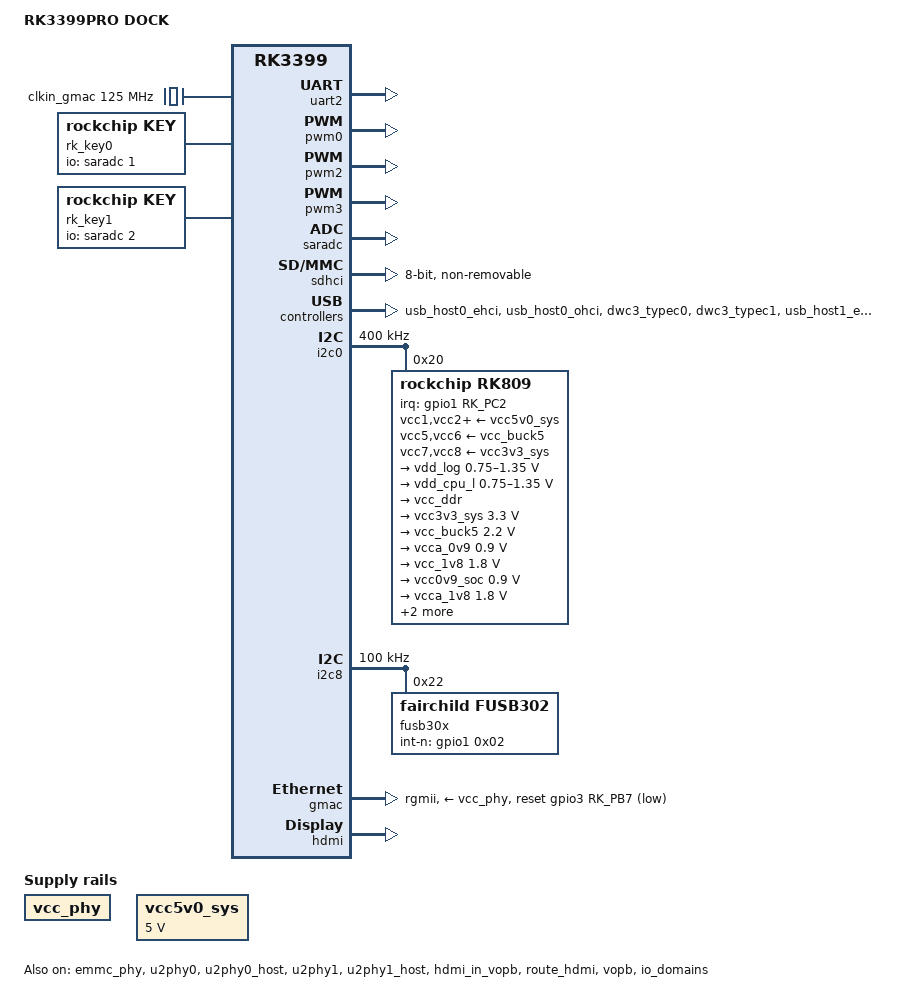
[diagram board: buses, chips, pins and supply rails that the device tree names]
/*
 * (C) Copyright 2016 Rockchip Electronics Co., Ltd
 *
 * SPDX-License-Identifier: GPL-2.0+
 */

/dts-v1/;
#include <dt-bindings/pwm/pwm.h>
#include <dt-bindings/pinctrl/rockchip.h>
#include "rk3399.dtsi"
#include "rk3399-sdram-lpddr3-4GB-1600.dtsi"
#include "rk3399-u-boot.dtsi"
#include <linux/media-bus-format.h>
#include <dt-bindings/input/input.h>

/ {
	model = "RK3399PRO DOCK";
	compatible = "rockchip, rk3399pro-dock",
	             "rockchip,rk3399-evb",
	             "rockchip,rk3399",
	             "google,rk3399evb-rev2";

	vcc_phy: vcc-phy-regulator {
		compatible = "regulator-fixed";
		regulator-name = "vcc_phy";
		regulator-always-on;
		regulator-boot-on;
	};

	vcc5v0_sys: vccsys {
		compatible = "regulator-fixed";
		regulator-name = "vcc5v0_sys";
		regulator-always-on;
		regulator-boot-on;
		regulator-min-microvolt = <5000000>;
		regulator-max-microvolt = <5000000>;
	};

	clkin_gmac: external-gmac-clock {
		compatible = "fixed-clock";
		clock-frequency = <125000000>;
		clock-output-names = "clkin_gmac";
		#clock-cells = <0>;
		u-boot,dm-pre-reloc;
	};

	rk_key0 {
		compatible = "rockchip,key";
		io-channels = <&saradc 1>;
		status = "okay";
		u-boot,dm-pre-reloc;

		vol-up-key0 {
			label = "volume up";
			linux,code = <115>;
			rockchip,adc_value = <1>;
			u-boot,dm-pre-reloc;
		};
	};

	rk_key1 {
		compatible = "rockchip,key";
		io-channels = <&saradc 2>;
		status = "okay";
		u-boot,dm-pre-reloc;

		vol-up-key1 {
			label = "volume up";
			linux,code = <115>;
			rockchip,adc_value = <10>;
			u-boot,dm-pre-reloc;
		};
	};
};


&uart2 {
	pinctrl-0 = <&uart2a_xfer>;
	status = "okay";
};


&emmc_phy {
	status = "okay";
};

&pwm0 {
	status = "okay";
};

&pwm2 {
	status = "okay";
};

&pwm3 {
	status = "okay";
};

&saradc {
	status = "okay";
};

&sdmmc {
	bus-width = <4>;
	status = "disabled";
};

&sdhci {
	bus-width = <8>;
	mmc-hs400-1_8v;
	mmc-hs400-enhanced-strobe;
	non-removable;
	status = "okay";
};

&usb_host0_ehci {
	status = "okay";
};

&usb_host0_ohci {
	status = "okay";
};

&u2phy0 {
	status = "okay";
};

&u2phy0_host {
	phy-supply = <&vcc5v0_usb>;
	status = "okay";
};

&dwc3_typec0 {
	extcon = <&fusb30x>;
	status = "okay";
};

&dwc3_typec1 {
	status = "okay";
};

&usb_host1_ehci {
	status = "okay";
};

&usb_host1_ohci {
	status = "okay";
};

&u2phy1 {
	status = "okay";
};

&u2phy1_host {
	phy-supply = <&vcc5v0_usb>;
	status = "okay";
};

&i2c0 {
	status = "okay";
	clock-frequency = <400000>;
	i2c-scl-falling-time-ns = <180>;
	i2c-scl-rising-time-ns = <30>;

	rk809: pmic@20 {
		compatible = "rockchip,rk809";
		reg = <0x20>;
		interrupt-parent = <&gpio1>;
		interrupts = <RK_PC2 IRQ_TYPE_LEVEL_LOW>;
		pinctrl-names = "default",
		                "pmic-sleep",
		                "pmic-power-off",
		                "pmic-reset";
		pinctrl-0 = <&pmic_int_l>;
		pinctrl-1 = <&soc_slppin_slp>, <&rk809_slppin_slp>;
		pinctrl-2 = <&soc_slppin_gpio>, <&rk809_slppin_pwrdn>;
		pinctrl-3 = <&soc_slppin_gpio>, <&rk809_slppin_null>;
		rockchip,system-power-controller;
		pmic-reset-func = <0>;
		wakeup-source;
		#clock-cells = <1>;
		clock-output-names = "rk808-clkout1", "rk808-clkout2";

		vcc1-supply = <&vcc5v0_sys>;
		vcc2-supply = <&vcc5v0_sys>;
		vcc3-supply = <&vcc5v0_sys>;
		vcc4-supply = <&vcc5v0_sys>;
		vcc5-supply = <&vcc_buck5>;
		vcc6-supply = <&vcc_buck5>;
		vcc7-supply = <&vcc3v3_sys>;
		vcc8-supply = <&vcc3v3_sys>;
		vcc9-supply = <&vcc5v0_sys>;
		pwrkey {
			status = "okay";
		};
		pinctrl_rk8xx: pinctrl_rk8xx {
			gpio-controller;
			#gpio-cells = <2>;

			rk809_slppin_null: rk809_slppin_null {
				pins = "gpio_slp";
				function = "pin_fun0";
			};

			rk809_slppin_slp: rk809_slppin_slp {
				pins = "gpio_slp";
				function = "pin_fun1";
			};

			rk809_slppin_pwrdn: rk809_slppin_pwrdn {
				pins = "gpio_slp";
				function = "pin_fun2";
			};

			rk809_slppin_rst: rk809_slppin_rst {
				pins = "gpio_slp";
				function = "pin_fun3";
			};
		};
		regulators {
			vdd_log: DCDC_REG1 {
				regulator-always-on;
				regulator-boot-on;
				regulator-min-microvolt = <750000>;
				regulator-max-microvolt = <1350000>;
				regulator-initial-mode = <0x2>;
				regulator-name = "vdd_log";
				regulator-state-mem {
					regulator-off-in-suspend;
					regulator-suspend-microvolt = <900000>;
				};
			};

			vdd_cpu_l: DCDC_REG2 {
				regulator-always-on;
				regulator-boot-on;
				regulator-min-microvolt = <750000>;
				regulator-max-microvolt = <1350000>;
				regulator-ramp-delay = <6001>;
				regulator-initial-mode = <0x2>;
				regulator-name = "vdd_cpu_l";
				regulator-state-mem {
					regulator-off-in-suspend;
				};
			};

			vcc_ddr: DCDC_REG3 {
				regulator-always-on;
				regulator-boot-on;
				regulator-name = "vcc_ddr";
				regulator-initial-mode = <0x2>;
				regulator-state-mem {
					regulator-on-in-suspend;
				};
			};

			vcc3v3_sys: DCDC_REG4 {
				regulator-always-on;
				regulator-boot-on;
				regulator-min-microvolt = <3300000>;
				regulator-max-microvolt = <3300000>;
				regulator-initial-mode = <0x2>;
				regulator-name = "vcc3v3_sys";
				regulator-state-mem {
					regulator-on-in-suspend;
					regulator-suspend-microvolt = <3300000>;
				};
			};

			vcc_buck5: DCDC_REG5 {
				regulator-always-on;
				regulator-boot-on;
				regulator-min-microvolt = <2200000>;
				regulator-max-microvolt = <2200000>;
				regulator-name = "vcc_buck5";
				regulator-state-mem {
					regulator-on-in-suspend;
					regulator-suspend-microvolt = <2200000>;
				};
			};

			vcca_0v9: LDO_REG1 {
				regulator-always-on;
				regulator-boot-on;
				regulator-min-microvolt = <900000>;
				regulator-max-microvolt = <900000>;
				regulator-name = "vcca_0v9";
				regulator-state-mem {
					regulator-off-in-suspend;
				};
			};

			vcc_1v8: LDO_REG2 {
				regulator-always-on;
				regulator-boot-on;
				regulator-min-microvolt = <1800000>;
				regulator-max-microvolt = <1800000>;

				regulator-name = "vcc_1v8";
				regulator-state-mem {
					regulator-on-in-suspend;
					regulator-suspend-microvolt = <1800000>;
				};
			};

			vcc0v9_soc: LDO_REG3 {
				regulator-always-on;
				regulator-boot-on;
				regulator-min-microvolt = <900000>;
				regulator-max-microvolt = <900000>;

				regulator-name = "vcc0v9_soc";
				regulator-state-mem {
					regulator-on-in-suspend;
					regulator-suspend-microvolt = <900000>;
				};
			};

			vcca_1v8: LDO_REG4 {
				regulator-always-on;
				regulator-boot-on;
				regulator-min-microvolt = <1800000>;
				regulator-max-microvolt = <1800000>;

				regulator-name = "vcca_1v8";
				regulator-state-mem {
					regulator-off-in-suspend;
				};
			};

			vdd1v5_dvp: LDO_REG5 {
				regulator-always-on;
				regulator-boot-on;
				regulator-min-microvolt = <1500000>;
				regulator-max-microvolt = <1500000>;

				regulator-name = "vdd1v5_dvp";
				regulator-state-mem {
					regulator-off-in-suspend;
				};
			};

			vcc_1v5: LDO_REG6 {
				regulator-always-on;
				regulator-boot-on;
				regulator-min-microvolt = <1500000>;
				regulator-max-microvolt = <1500000>;

				regulator-name = "vcc_1v5";
				regulator-state-mem {
					regulator-off-in-suspend;
				};
			};

			vcc_3v0: LDO_REG7 {
				regulator-always-on;
				regulator-boot-on;
				regulator-min-microvolt = <3000000>;
				regulator-max-microvolt = <3000000>;

				regulator-name = "vcc_3v0";
				regulator-state-mem {
					regulator-off-in-suspend;
				};
			};

			vccio_sd: LDO_REG8 {
				regulator-always-on;
				regulator-boot-on;
				regulator-min-microvolt = <1800000>;
				regulator-max-microvolt = <3300000>;

				regulator-name = "vccio_sd";
				regulator-state-mem {
					regulator-off-in-suspend;
				};
			};

			vcc_sd: LDO_REG9 {
				regulator-always-on;
				regulator-boot-on;
				regulator-min-microvolt = <3300000>;
				regulator-max-microvolt = <3300000>;

				regulator-name = "vcc_sd";
				regulator-state-mem {
					regulator-off-in-suspend;
				};
			};

			vcc5v0_usb: SWITCH_REG1 {
				regulator-min-microvolt = <5000000>;
				regulator-max-microvolt = <5000000>;

				regulator-name = "vcc5v0_usb";
				regulator-state-mem {
					regulator-on-in-suspend;
					regulator-suspend-microvolt = <5000000>;
				};
			};

			vccio_3v3: SWITCH_REG2 {
				regulator-always-on;
				regulator-boot-on;
				regulator-min-microvolt = <3300000>;
				regulator-max-microvolt = <3300000>;

				regulator-name = "vccio_3v3";
				regulator-state-mem {
					regulator-off-in-suspend;
				};
			};
		};
	};

};

&i2c8 {
	status = "okay";
	i2c-scl-falling-time-ns = <11>;
	i2c-scl-rising-time-ns = <345>;
	clock-frequency = <100000>;
	status = "okay";

	fusb30x: fusb30x@22 {
		compatible = "fairchild,fusb302";
		int-n-gpios = <&gpio1 0x02 0x00>;
		//phandle = <0x28>;
		pinctrl-0 = <&fusb0_int>;
		pinctrl-names = "default";
		reg = <0x22>;
		status = "okay";
		//fusb302,role = "ROLE_MODE_DRP";
		//fusb302,try_role = "ROLE_MODE_DFP";
	};
};

&pinctrl {
	pinctrl-names = "default";
	pinctrl-0 = <&npu_ref_clk>;

	npu_clk {
		npu_ref_clk: npu-ref-clk {
		     rockchip,pins =
			     <0 RK_PA2 1 &pcfg_pull_none>;
	     };
	};

	pmic {
		pmic_int_l: pmic-int-l {
			rockchip,pins =
				<1 RK_PC2 0 &pcfg_pull_up>;
		};
		vsel1_gpio: vsel1-gpio {
			rockchip,pins =
				<1 RK_PC1 0 &pcfg_pull_down>;
		};
		vsel2_gpio: vsel2-gpio {
			rockchip,pins =
				<1 RK_PB6 0 &pcfg_pull_down>;
		};

		soc_slppin_gpio: soc-slppin-gpio {
			rockchip,pins =
				<1 RK_PA5 0 &pcfg_output_low>;
		};

		soc_slppin_slp: soc-slppin-slp {
			rockchip,pins =
				<1 RK_PA5 1 &pcfg_pull_down>;
		};

		soc_slppin_rst: soc-slppin-rst {
			rockchip,pins =
				<1 RK_PA5 2 &pcfg_pull_none>;
		};
	};

	bq2570 {
		charger_ok_int: charger-ok-int {
			rockchip,pins =
				<1 RK_PA1 0 &pcfg_pull_up>;
			};
	};

	fusb30x {
		fusb0_int: fusb0-int {
			rockchip,pins =
				<1 RK_PA2 0 &pcfg_pull_up>;
			};
	};
	
	headphone {
		hp_det: hp-det {
			rockchip,pins =
				<0 RK_PB5 0 &pcfg_pull_up>;
		};
	};

	wireless-bluetooth {
		bt_irq_gpio: bt-irq-gpio {
			//phandle = <0xe7>;
			rockchip,pins = <0 RK_PA5 RK_FUNC_GPIO &pcfg_pull_down>;
		};
		uart0_gpios: uart0-gpios {
			rockchip,pins =
				<2 RK_PC3 RK_FUNC_GPIO &pcfg_pull_none>;
		};
	};

	sdio-pwrseq {
		wifi_enable_h: wifi-enable-h {
			rockchip,pins =
				<2 RK_PD3 0 &pcfg_pull_none>;
		};
	};

	sdmmc {
		sdmmc_bus1: sdmmc-bus1 {
			rockchip,pins =
				<4 8 RK_FUNC_1 &pcfg_pull_up>;
		};

		sdmmc_bus4: sdmmc-bus4 {
			rockchip,pins =
				<4 8 RK_FUNC_1 &pcfg_pull_up>,
				<4 9 RK_FUNC_1 &pcfg_pull_up>,
				<4 10 RK_FUNC_1 &pcfg_pull_up>,
				<4 11 RK_FUNC_1 &pcfg_pull_up>;
		};

		sdmmc_clk: sdmmc-clk {
			rockchip,pins =
				<4 12 RK_FUNC_1 &pcfg_pull_none>;
		};

		sdmmc_cmd: sdmmc-cmd {
			rockchip,pins =
				<4 13 RK_FUNC_1 &pcfg_pull_up>;
		};
	};

	tp_irq {
		tp_irq_gpio: tp-irq-gpio {
			rockchip,pins =
				<3 RK_PB0 0 &pcfg_pull_up>;
		};
	};
	
	lcd {
		lcd_rst_gpio: lcd-rst-gpio {
			rockchip,pins =
				<3 4 RK_FUNC_GPIO &pcfg_pull_none>;// eDP
		};
	};

	backlight {
		bl_en: bl-en {
			rockchip,pins =
				<1 13 RK_FUNC_GPIO &pcfg_pull_none>;// eDP
		};
	};

	isp {
		isp_dvp_d0d7: isp-dvp-d0d7 {
			phandle = <0xd1>;
			rockchip,pins = <0x02 0x00 0x03 0xc7 0x02 0x01 0x03 0xc7 0x02 0x02 0x03 0xc7 0x02 0x03 0x03 0xc7 0x02 0x04 0x03 0xc7 0x02 0x05 0x03 0xc7 0x02 0x06 0x03 0xc7 0x02 0x07 0x03 0xc7 0x02 0x08 0x03 0xc7 0x02 0x09 0x03 0xc7 0x02 0x0a 0x03 0xc7>;
		};
		isp_prelight: isp-prelight {
			rockchip,pins = <0x01 0x04 0x01 0xc7>;
		};
		isp_flash_trigger_as_gpio: isp-flash-trigger-as-gpio {
			rockchip,pins = <0x01 0x03 0x00 0xc7>;
		};
	};
};

&gmac {
	assigned-clock-parents = <&clkin_gmac>;
	assigned-clocks = <&cru SCLK_RMII_SRC>;
	phy-supply = <&vcc_phy>;
	phy-mode = "rgmii";
	clock_in_out = "input";
	snps,reset-gpio = <&gpio3 RK_PB7 GPIO_ACTIVE_LOW>;
	snps,reset-active-low;
	snps,reset-delays-us = <0 10000 50000>;
	pinctrl-names = "default";
	pinctrl-0 = <&rgmii_pins>;
	tx_delay = <0x28>;
	rx_delay = <0x11>;
	status = "okay";
	u-boot,dm-pre-reloc;
};

&hdmi_in_vopl {
	status = "disabled";
};

&hdmi_in_vopb {
	status = "okay";
};

&hdmi {
	status = "okay";
	#address-cells = <1>;
	#size-cells = <0>;
	#sound-dai-cells = <0>;
	ddc-i2c-scl-high-time-ns = <9625>;
	ddc-i2c-scl-low-time-ns = <10000>;
//	rockchip,phy-table =
//		<74250000  0x8009 0x0004 0x0272>,
//		<165000000 0x802b 0x0004 0x0209>,
//		<297000000 0x8039 0x0005 0x028d>,
//		<594000000 0x8039 0x0000 0x00f6>,
//		<000000000 0x0000 0x0000 0x0000>;
};

&route_hdmi {
	status = "okay";
	connect = <&vopb_out_hdmi>;
};

&vopb {
	status = "okay";
};

&io_domains {
	status = "okay";
	bt656-supply = <&vcca_1v8>;
	audio-supply = <&vcca_1v8>;
	sdmmc-supply = <&vccio_sd>;
	gpio1830-supply = <&vcc_3v0>;
};

&pmu_io_domains {
	status = "okay";
	pmu1830-supply = <&vcc_1v8>;
};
